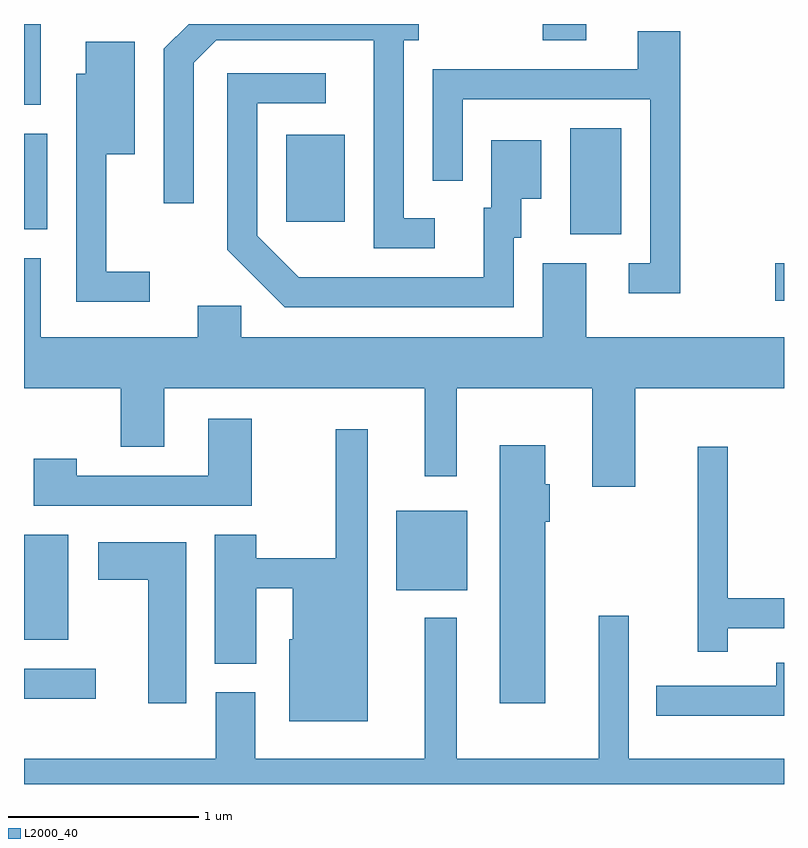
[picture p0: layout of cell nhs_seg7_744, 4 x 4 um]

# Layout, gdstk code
import gdstk
lib = gdstk.Library(unit=1e-6, precision=1e-09)
def R(c, l, rs):  # rectangles x0, y0, x1, y1
    for r in rs: c.add(gdstk.rectangle(r[:2], r[2:], *l))
def P(c, l, *ps):  # polygons
    for p in ps: c.add(gdstk.Polygon(p, *l))
L2000_40 = (2000, 40)

nhs_seg7_744 = lib.new_cell('nhs_seg7_744')
R(nhs_seg7_744, L2000_40, [(207.611,1692.701,207.988,1692.859), (207.611,1693.011,207.844,1693.564), (209.571,1693.271,209.944,1693.689), (211.566,1694.796,211.611,1694.994), (210.486,1695.146,210.754,1695.704), (207.611,1695.171,207.734,1695.674), (208.991,1695.211,209.299,1695.669), (207.611,1695.826,207.699,1696.252), (210.341,1696.166,210.569,1696.252)])
P(nhs_seg7_744, L2000_40, [(209.773,1695.229),(209.609,1695.229),(209.609,1696.166),(209.688,1696.166),(209.688,1696.252),(208.477,1696.252),(208.346,1696.122),(208.346,1695.308),(208.504,1695.308),(208.504,1696.049),(208.622,1696.166),(209.451,1696.166),(209.451,1695.071),(209.773,1695.071)],
  [(211.064,1696.214),(210.841,1696.214),(210.841,1696.014),(209.761,1696.014),(209.761,1695.428),(209.919,1695.428),(209.919,1695.856),(210.906,1695.856),(210.906,1694.994),(210.793,1694.994),(210.793,1694.836),(211.064,1694.836)],
  [(208.273,1694.949),(208.044,1694.949),(208.044,1695.566),(208.194,1695.566),(208.194,1696.159),(207.936,1696.159),(207.936,1695.989),(207.886,1695.989),(207.886,1694.791),(208.273,1694.791)],
  [(210.189,1695.126),(210.229,1695.126),(210.229,1695.331),(210.334,1695.331),(210.334,1695.639),(210.071,1695.639),(210.071,1695.284),(210.031,1695.284),(210.031,1694.919),(209.057,1694.919),(208.839,1695.137),(208.839,1695.836),(209.198,1695.836),(209.198,1695.994),(208.681,1695.994),(208.681,1695.064),(208.984,1694.761),(210.189,1694.761)],
  [(210.829,1694.336),(211.611,1694.336),(211.611,1694.604),(210.569,1694.604),(210.569,1694.994),(210.341,1694.994),(210.341,1694.604),(208.754,1694.604),(208.754,1694.769),(208.526,1694.769),(208.526,1694.604),(207.699,1694.604),(207.699,1695.019),(207.611,1695.019),(207.611,1694.336),(208.121,1694.336),(208.121,1694.026),(208.349,1694.026),(208.349,1694.336),(209.721,1694.336),(209.721,1693.873),(209.889,1693.873),(209.889,1694.336),(210.601,1694.336),(210.601,1693.816),(210.829,1693.816)],
  [(208.809,1694.174),(208.581,1694.174),(208.581,1693.874),(207.889,1693.874),(207.889,1693.964),(207.661,1693.964),(207.661,1693.716),(208.809,1693.716)],
  [(209.419,1694.118),(209.251,1694.118),(209.251,1693.439),(208.834,1693.439),(208.834,1693.564),(208.616,1693.564),(208.616,1692.886),(208.834,1692.886),(208.834,1693.281),(209.026,1693.281),(209.026,1693.014),(209.006,1693.014),(209.006,1692.581),(209.419,1692.581)],
  [(210.354,1693.631),(210.379,1693.631),(210.379,1693.829),(210.354,1693.829),(210.354,1694.034),(210.116,1694.034),(210.116,1692.676),(210.354,1692.676)],
  [(211.314,1693.071),(211.611,1693.071),(211.611,1693.229),(211.314,1693.229),(211.314,1694.028),(211.156,1694.028),(211.156,1692.948),(211.314,1692.948)],
  [(208.464,1693.524),(208.001,1693.524),(208.001,1693.326),(208.266,1693.326),(208.266,1692.676),(208.464,1692.676)],
  [(211.611,1692.384),(210.794,1692.384),(210.794,1693.138),(210.636,1693.138),(210.636,1692.384),(209.889,1692.384),(209.889,1693.128),(209.721,1693.128),(209.721,1692.384),(208.829,1692.384),(208.829,1692.734),(208.621,1692.734),(208.621,1692.384),(207.611,1692.384),(207.611,1692.252),(211.611,1692.252)],
  [(211.611,1692.889),(211.571,1692.889),(211.571,1692.769),(210.938,1692.769),(210.938,1692.611),(211.611,1692.611)])

lib.write_gds('nhs_seg7_744.gds')
